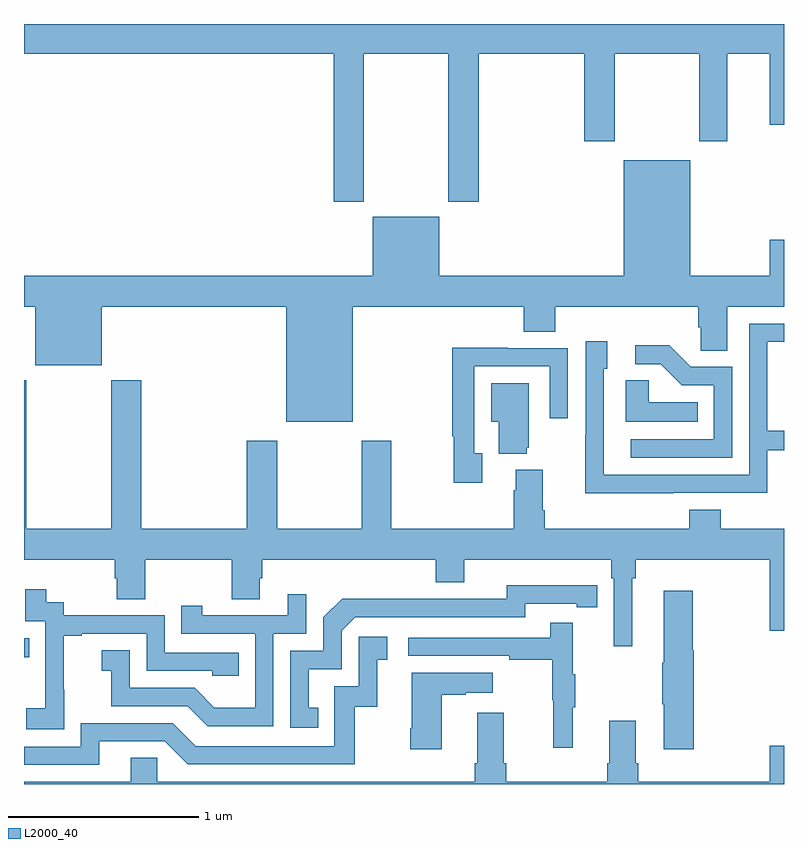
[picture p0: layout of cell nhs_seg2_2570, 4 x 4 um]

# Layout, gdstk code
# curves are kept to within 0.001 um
import gdstk
lib = gdstk.Library(unit=1e-6, precision=1e-09)
def R(c, l, rs):  # rectangles x0, y0, x1, y1
    for r in rs: c.add(gdstk.rectangle(r[:2], r[2:], *l))
def P(c, l, *ps):  # polygons
    for p in ps: c.add(gdstk.Polygon(p, *l))
L2000_40 = (2000, 40)

nhs_seg2_2570 = lib.new_cell('nhs_seg2_2570')
R(nhs_seg2_2570, L2000_40, [(245,636.466,245.027,636.567)])
P(nhs_seg2_2570, L2000_40, [(246.789,639.644),(247.234,639.644),(247.234,638.865),(247.394,638.865),(247.394,639.644),(247.949,639.644),(247.949,639.183),(248.109,639.183),(248.109,639.644),(248.554,639.644),(248.554,639.183),(248.701,639.183),(248.701,639.644),(248.924,639.644),(248.924,639.27),(249,639.27),(249,639.8),(245,639.8),(245,639.644),(246.629,639.644),(246.629,638.865),(246.789,638.865)],
  [(246.73,638.312),(247.631,638.312),(247.631,638.179),(247.796,638.179),(247.796,638.312),(248.549,638.312),(248.549,638.203),(248.562,638.203),(248.562,638.08),(248.701,638.08),(248.701,638.312),(249,638.312),(249,638.665),(248.924,638.665),(248.924,638.476),(248.506,638.476),(248.506,639.082),(248.156,639.082),(248.156,638.476),(247.186,638.476),(247.186,638.785),(246.836,638.785),(246.836,638.476),(245,638.476),(245,638.312),(245.06,638.312),(245.06,638.003),(245.41,638.003),(245.41,638.312),(246.38,638.312),(246.38,637.706),(246.73,637.706)],
  [(248.417,637.332),(248.913,637.332),(248.913,637.557),(249,637.557),(249,637.658),(248.913,637.658),(248.913,638.127),(249,638.127),(249,638.223),(248.817,638.223),(248.817,637.428),(248.052,637.428),(248.052,637.986),(248.071,637.986),(248.071,638.131),(247.956,638.131),(247.956,637.637),(247.954,637.637),(247.954,637.331),(248.417,637.331)],
  [(248.727,637.995),(248.508,637.995),(248.395,638.108),(248.217,638.108),(248.217,638.01),(248.351,638.01),(248.462,637.899),(248.631,637.899),(248.631,637.614),(248.193,637.614),(248.193,637.518),(248.727,637.518)],
  [(247.411,637.542),(247.371,637.542),(247.371,637.998),(247.767,637.998),(247.767,637.725),(247.863,637.725),(247.863,638.094),(247.547,638.094),(247.547,638.096),(247.255,638.096),(247.255,637.63),(247.263,637.63),(247.263,637.386),(247.411,637.386)],
  [(248.546,637.81),(248.289,637.81),(248.289,637.925),(248.168,637.925),(248.168,637.706),(248.546,637.706)],
  [(246.778,637.606),(246.778,637.144),(246.333,637.144),(246.333,637.606),(246.173,637.606),(246.173,637.144),(245.618,637.144),(245.618,637.924),(245.458,637.924),(245.458,637.144),(245.013,637.144),(245.013,637.924),(245,637.924),(245,636.98),(245.477,636.98),(245.477,636.882),(245.489,636.882),(245.489,636.772),(245.637,636.772),(245.637,636.98),(246.094,636.98),(246.094,636.772),(246.241,636.772),(246.241,636.882),(246.254,636.882),(246.254,636.98),(247.166,636.98),(247.166,636.863),(247.318,636.863),(247.318,636.98),(248.09,636.98),(248.09,636.884),(248.103,636.884),(248.103,636.525),(248.2,636.525),(248.2,636.884),(248.219,636.884),(248.219,636.98),(248.924,636.98),(248.924,636.606),(249,636.606),(249,637.144),(248.666,637.144),(248.666,637.243),(248.501,637.243),(248.501,637.144),(247.742,637.144),(247.742,637.24),(247.729,637.24),(247.729,637.453),(247.589,637.453),(247.589,637.346),(247.577,637.346),(247.577,637.144),(246.933,637.144),(246.933,637.606)],
  [(247.646,637.569),(247.657,637.569),(247.657,637.909),(247.46,637.909),(247.46,637.706),(247.499,637.706),(247.499,637.538),(247.646,637.538)],
  [(246.548,636.201),(246.499,636.201),(246.499,636.405),(246.672,636.405),(246.672,636.606),(246.744,636.678),(247.638,636.678),(247.638,636.75),(247.91,636.75),(247.91,636.73),(248.018,636.73),(248.018,636.846),(247.542,636.847),(247.542,636.774),(247.082,636.774),(247.082,636.776),(246.674,636.776),(246.576,636.678),(246.576,636.501),(246.402,636.501),(246.402,636.096),(246.548,636.096)],
  [(245.211,636.295),(245.21,636.295),(245.21,636.579),(245.305,636.579),(245.305,636.591),(245.646,636.591),(245.646,636.396),(245.991,636.396),(245.991,636.369),(246.131,636.369),(246.131,636.492),(245.742,636.492),(245.742,636.687),(245.208,636.687),(245.208,636.756),(245.116,636.756),(245.116,636.826),(245.007,636.826),(245.007,636.657),(245.112,636.657),(245.112,636.428),(245.111,636.428),(245.111,636.199),(245.013,636.199),(245.013,636.089),(245.211,636.089)],
  [(248.525,636.504),(248.52,636.504),(248.52,636.817),(248.366,636.817),(248.366,636.437),(248.359,636.437),(248.359,636.22),(248.366,636.22),(248.366,635.982),(248.525,635.982)],
  [(246.312,636.591),(246.486,636.591),(246.486,636.799),(246.389,636.799),(246.389,636.687),(245.938,636.687),(245.938,636.739),(245.827,636.739),(245.827,636.591),(246.216,636.591),(246.216,636.202),(246.002,636.202),(245.898,636.306),(245.556,636.306),(245.556,636.505),(245.409,636.505),(245.409,636.395),(245.458,636.395),(245.458,636.21),(245.861,636.21),(245.966,636.105),(246.312,636.105)],
  [(247.889,636.203),(247.9,636.203),(247.9,636.377),(247.889,636.377),(247.889,636.649),(247.771,636.649),(247.771,636.57),(247.023,636.57),(247.023,636.474),(247.555,636.474),(247.555,636.454),(247.779,636.454),(247.779,636.24),(247.786,636.24),(247.786,635.991),(247.889,635.991)],
  [(245.395,636.024),(245.742,636.024),(245.862,635.904),(246.742,635.904),(246.742,636.207),(246.86,636.207),(246.86,636.453),(246.913,636.453),(246.913,636.574),(246.762,636.574),(246.762,636.315),(246.633,636.315),(246.633,636),(245.904,636),(245.784,636.12),(245.298,636.12),(245.298,635.997),(245,635.997),(245,635.901),(245.395,635.901)],
  [(247.198,636.271),(247.325,636.271),(247.325,636.281),(247.468,636.281),(247.468,636.385),(247.04,636.385),(247.04,636.094),(247.033,636.094),(247.033,635.982),(247.198,635.982)],
  [(245.7,635.939),(245.561,635.939),(245.561,635.812),(245,635.812),(245,635.8),(249,635.8),(249,636.001),(248.924,636.001),(248.924,635.812),(248.234,635.812),(248.234,635.908),(248.221,635.908),(248.221,636.133),(248.081,636.133),(248.081,635.908),(248.069,635.908),(248.069,635.812),(247.538,635.812),(247.538,635.908),(247.525,635.908),(247.525,636.175),(247.385,636.175),(247.385,635.908),(247.373,635.908),(247.373,635.812),(245.7,635.812)])

lib.write_gds('nhs_seg2_2570.gds')
